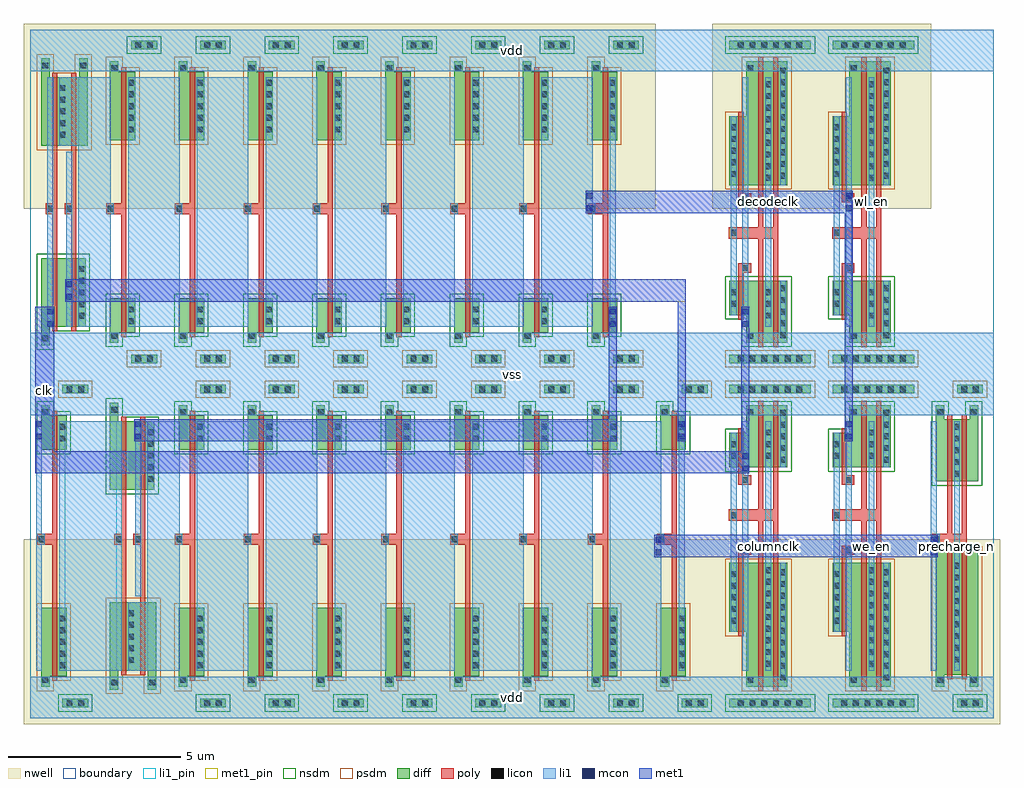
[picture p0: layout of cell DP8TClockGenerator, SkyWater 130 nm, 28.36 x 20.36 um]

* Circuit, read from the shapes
.subckt DP8TClockGenerator clk columnclk decodeclk precharge_n vdd vss we_en wl_en
XM1 DP8TNonOverlapClock_8S_0/nand2_x0_10/i0 clk vss VSUBS sky130_fd_pr__nfet_01v8 w=1 l=0.15
XM2 n1 clk vss VSUBS sky130_fd_pr__nfet_01v8 w=2 l=0.15
XM3 DP8TNonOverlapClock_8S_0/firststage[0] DP8TNonOverlapClock_8S_0/secondstage[8] n1 VSUBS sky130_fd_pr__nfet_01v8 w=2 l=0.15
XM4 n2 DP8TNonOverlapClock_8S_0/nand2_x0_10/i0 vss VSUBS sky130_fd_pr__nfet_01v8 w=2 l=0.15
XM5 DP8TNonOverlapClock_8S_0/firststage[1] DP8TNonOverlapClock_8S_0/firststage[0] vss VSUBS sky130_fd_pr__nfet_01v8 w=1 l=0.15
XM6 DP8TNonOverlapClock_8S_0/secondstage[0] DP8TNonOverlapClock_8S_0/firststage[8] n2 VSUBS sky130_fd_pr__nfet_01v8 w=2 l=0.15
XM7 DP8TNonOverlapClock_8S_0/secondstage[1] DP8TNonOverlapClock_8S_0/secondstage[0] vss VSUBS sky130_fd_pr__nfet_01v8 w=1 l=0.15
XM8 DP8TNonOverlapClock_8S_0/firststage[2] DP8TNonOverlapClock_8S_0/firststage[1] vss VSUBS sky130_fd_pr__nfet_01v8 w=1 l=0.15
XM9 DP8TNonOverlapClock_8S_0/secondstage[2] DP8TNonOverlapClock_8S_0/secondstage[1] vss VSUBS sky130_fd_pr__nfet_01v8 w=1 l=0.15
XM10 DP8TNonOverlapClock_8S_0/firststage[3] DP8TNonOverlapClock_8S_0/firststage[2] vss VSUBS sky130_fd_pr__nfet_01v8 w=1 l=0.15
XM11 DP8TNonOverlapClock_8S_0/secondstage[3] DP8TNonOverlapClock_8S_0/secondstage[2] vss VSUBS sky130_fd_pr__nfet_01v8 w=1 l=0.15
XM12 DP8TNonOverlapClock_8S_0/firststage[4] DP8TNonOverlapClock_8S_0/firststage[3] vss VSUBS sky130_fd_pr__nfet_01v8 w=1 l=0.15
XM13 DP8TNonOverlapClock_8S_0/secondstage[4] DP8TNonOverlapClock_8S_0/secondstage[3] vss VSUBS sky130_fd_pr__nfet_01v8 w=1 l=0.15
XM14 DP8TNonOverlapClock_8S_0/firststage[5] DP8TNonOverlapClock_8S_0/firststage[4] vss VSUBS sky130_fd_pr__nfet_01v8 w=1 l=0.15
XM15 DP8TNonOverlapClock_8S_0/secondstage[5] DP8TNonOverlapClock_8S_0/secondstage[4] vss VSUBS sky130_fd_pr__nfet_01v8 w=1 l=0.15
XM16 DP8TNonOverlapClock_8S_0/firststage[6] DP8TNonOverlapClock_8S_0/firststage[5] vss VSUBS sky130_fd_pr__nfet_01v8 w=1 l=0.15
XM17 DP8TNonOverlapClock_8S_0/secondstage[6] DP8TNonOverlapClock_8S_0/secondstage[5] vss VSUBS sky130_fd_pr__nfet_01v8 w=1 l=0.15
XM18 DP8TNonOverlapClock_8S_0/firststage[7] DP8TNonOverlapClock_8S_0/firststage[6] vss VSUBS sky130_fd_pr__nfet_01v8 w=1 l=0.15
XM19 inv_x2_5/i DP8TNonOverlapClock_8S_0/secondstage[6] vss VSUBS sky130_fd_pr__nfet_01v8 w=1 l=0.15
XM20 DP8TNonOverlapClock_8S_0/firststage[8] DP8TNonOverlapClock_8S_0/firststage[7] vss VSUBS sky130_fd_pr__nfet_01v8 w=1 l=0.15
XM21 DP8TNonOverlapClock_8S_0/secondstage[8] inv_x2_5/i vss VSUBS sky130_fd_pr__nfet_01v8 w=1 l=0.15
XM22 vss clk n3 VSUBS sky130_fd_pr__nfet_01v8 w=1 l=0.15
XM23 vss clk n4 VSUBS sky130_fd_pr__nfet_01v8 w=1 l=0.15
XM24 columnclk n3 vss VSUBS sky130_fd_pr__nfet_01v8 w=1.8 l=0.15 m=2
XM25 decodeclk n4 vss VSUBS sky130_fd_pr__nfet_01v8 w=1.8 l=0.15 m=2
XM26 vss DP8TNonOverlapClock_8S_0/firststage[7] n5 VSUBS sky130_fd_pr__nfet_01v8 w=1 l=0.15
XM27 vss DP8TNonOverlapClock_8S_0/firststage[7] n6 VSUBS sky130_fd_pr__nfet_01v8 w=1 l=0.15
XM28 we_en n5 vss VSUBS sky130_fd_pr__nfet_01v8 w=1.8 l=0.15 m=2
XM29 wl_en n6 vss VSUBS sky130_fd_pr__nfet_01v8 w=1.8 l=0.15 m=2
XM30 precharge_n inv_x2_5/i vss VSUBS sky130_fd_pr__nfet_01v8 w=1.8 l=0.15 m=2
XM31 DP8TNonOverlapClock_8S_0/nand2_x0_10/i0 clk vdd n7 sky130_fd_pr__pfet_01v8 w=2 l=0.15
XM32 DP8TNonOverlapClock_8S_0/firststage[0] clk vdd n8 sky130_fd_pr__pfet_01v8 w=2 l=0.15
XM33 vdd DP8TNonOverlapClock_8S_0/secondstage[8] DP8TNonOverlapClock_8S_0/firststage[0] n8 sky130_fd_pr__pfet_01v8 w=2 l=0.15
XM34 DP8TNonOverlapClock_8S_0/secondstage[0] DP8TNonOverlapClock_8S_0/nand2_x0_10/i0 vdd n7 sky130_fd_pr__pfet_01v8 w=2 l=0.15
XM35 DP8TNonOverlapClock_8S_0/firststage[1] DP8TNonOverlapClock_8S_0/firststage[0] vdd n8 sky130_fd_pr__pfet_01v8 w=2 l=0.15
XM36 vdd DP8TNonOverlapClock_8S_0/firststage[8] DP8TNonOverlapClock_8S_0/secondstage[0] n7 sky130_fd_pr__pfet_01v8 w=2 l=0.15
XM37 DP8TNonOverlapClock_8S_0/secondstage[1] DP8TNonOverlapClock_8S_0/secondstage[0] vdd n7 sky130_fd_pr__pfet_01v8 w=2 l=0.15
XM38 DP8TNonOverlapClock_8S_0/firststage[2] DP8TNonOverlapClock_8S_0/firststage[1] vdd n8 sky130_fd_pr__pfet_01v8 w=2 l=0.15
XM39 DP8TNonOverlapClock_8S_0/secondstage[2] DP8TNonOverlapClock_8S_0/secondstage[1] vdd n7 sky130_fd_pr__pfet_01v8 w=2 l=0.15
XM40 DP8TNonOverlapClock_8S_0/firststage[3] DP8TNonOverlapClock_8S_0/firststage[2] vdd n8 sky130_fd_pr__pfet_01v8 w=2 l=0.15
XM41 DP8TNonOverlapClock_8S_0/secondstage[3] DP8TNonOverlapClock_8S_0/secondstage[2] vdd n7 sky130_fd_pr__pfet_01v8 w=2 l=0.15
XM42 DP8TNonOverlapClock_8S_0/firststage[4] DP8TNonOverlapClock_8S_0/firststage[3] vdd n8 sky130_fd_pr__pfet_01v8 w=2 l=0.15
XM43 DP8TNonOverlapClock_8S_0/secondstage[4] DP8TNonOverlapClock_8S_0/secondstage[3] vdd n7 sky130_fd_pr__pfet_01v8 w=2 l=0.15
XM44 DP8TNonOverlapClock_8S_0/firststage[5] DP8TNonOverlapClock_8S_0/firststage[4] vdd n8 sky130_fd_pr__pfet_01v8 w=2 l=0.15
XM45 DP8TNonOverlapClock_8S_0/secondstage[5] DP8TNonOverlapClock_8S_0/secondstage[4] vdd n7 sky130_fd_pr__pfet_01v8 w=2 l=0.15
XM46 DP8TNonOverlapClock_8S_0/firststage[6] DP8TNonOverlapClock_8S_0/firststage[5] vdd n8 sky130_fd_pr__pfet_01v8 w=2 l=0.15
XM47 DP8TNonOverlapClock_8S_0/secondstage[6] DP8TNonOverlapClock_8S_0/secondstage[5] vdd n7 sky130_fd_pr__pfet_01v8 w=2 l=0.15
XM48 DP8TNonOverlapClock_8S_0/firststage[7] DP8TNonOverlapClock_8S_0/firststage[6] vdd n8 sky130_fd_pr__pfet_01v8 w=2 l=0.15
XM49 inv_x2_5/i DP8TNonOverlapClock_8S_0/secondstage[6] vdd n7 sky130_fd_pr__pfet_01v8 w=2 l=0.15
XM50 DP8TNonOverlapClock_8S_0/firststage[8] DP8TNonOverlapClock_8S_0/firststage[7] vdd n8 sky130_fd_pr__pfet_01v8 w=2 l=0.15
XM51 DP8TNonOverlapClock_8S_0/secondstage[8] inv_x2_5/i vdd n7 sky130_fd_pr__pfet_01v8 w=2 l=0.15
XM52 vdd clk n3 n7 sky130_fd_pr__pfet_01v8 w=2 l=0.15
XM53 vdd clk n4 n9 sky130_fd_pr__pfet_01v8 w=2 l=0.15
XM54 columnclk n3 vdd n7 sky130_fd_pr__pfet_01v8 w=3.6 l=0.15 m=2
XM55 decodeclk n4 vdd n9 sky130_fd_pr__pfet_01v8 w=3.6 l=0.15 m=2
XM56 vdd DP8TNonOverlapClock_8S_0/firststage[7] n5 n7 sky130_fd_pr__pfet_01v8 w=2 l=0.15
XM57 vdd DP8TNonOverlapClock_8S_0/firststage[7] n6 n9 sky130_fd_pr__pfet_01v8 w=2 l=0.15
XM58 we_en n5 vdd n7 sky130_fd_pr__pfet_01v8 w=3.6 l=0.15 m=2
XM59 wl_en n6 vdd n9 sky130_fd_pr__pfet_01v8 w=3.6 l=0.15 m=2
XM60 precharge_n inv_x2_5/i vdd n7 sky130_fd_pr__pfet_01v8 w=3.6 l=0.15 m=2
.ends

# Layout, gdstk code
import gdstk
lib = gdstk.Library(unit=1e-6, precision=1e-09)
def R(c, l, rs):  # rectangles x0, y0, x1, y1
    for r in rs: c.add(gdstk.rectangle(r[:2], r[2:], *l))
def A(c, l, x, y, w, h, nx, ny, dx, dy):  # array of equal rectangles
    R(c, l, [(x+i*dx, y+j*dy, x+i*dx+w, y+j*dy+h) for i in range(nx) for j in range(ny)])
def P(c, l, *ps):  # polygons
    for p in ps: c.add(gdstk.Polygon(p, *l))
nwell = (64, 20)
diff = (65, 20)
poly = (66, 20)
licon = (66, 44)
li1_pin = (67, 16)
li1 = (67, 20)
mcon = (67, 44)
met1_pin = (68, 16)
met1 = (68, 20)
nsdm = (93, 44)
psdm = (94, 20)
boundary = (235, 4)

nand2_x0 = lib.new_cell('nand2_x0')
R(nand2_x0, nwell, [(-0.18,4.8,2.18,10.18), (0.625,6.45,1.235,8.81)])
P(nand2_x0, diff, [(0.315,0.83),(0.315,3.37),(1.61,3.37),(1.61,1.37),(0.565,1.37),(0.565,0.83)],
  [(0.315,6.63),(0.315,9.17),(0.565,9.17),(0.565,8.63),(1.42,8.63),(1.42,9.17),(1.67,9.17),(1.67,6.63)])
P(nand2_x0, poly, [(0.64,1.24),(0.64,4.635),(0.445,4.635),(0.445,4.965),(0.64,4.965),(0.64,8.76),(0.79,8.76),(0.79,1.24)],
  [(1.195,1.24),(1.195,4.635),(1,4.635),(1,4.965),(1.195,4.965),(1.195,8.76),(1.345,8.76),(1.345,1.24)])
A(nand2_x0, licon, 1.4, 1.605, 0.17, 0.17, 1, 5, 0, 0.34)
A(nand2_x0, licon, 0.845, 6.865, 0.17, 0.17, 1, 5, 0, 0.34)
R(nand2_x0, licon, [(0.355,0.95,0.525,1.12), (0.495,4.715,0.665,4.885), (1.05,4.715,1.22,4.885), (0.355,8.88,0.525,9.05), (1.46,8.88,1.63,9.05)])
R(nand2_x0, li1_pin, [(0,0,2,1.2), (0.495,1.37,0.665,8.63), (1.05,1.37,1.22,6.46), (1.4,1.37,1.57,8.63), (0,8.8,2,10)])
R(nand2_x0, li1, [(0,0,2,1.2), (0.495,1.37,0.665,8.63), (1.05,1.37,1.22,6.46), (0,8.8,2,10)])
P(nand2_x0, li1, [(1.4,1.37),(1.4,6.63),(0.845,6.63),(0.845,8.63),(1.57,8.63),(1.57,1.37)])
P(nand2_x0, nsdm, [(0.19,0.705),(0.19,3.495),(1.735,3.495),(1.735,1.245),(0.69,1.245),(0.69,0.705)])
P(nand2_x0, psdm, [(0.19,6.505),(0.19,9.295),(0.69,9.295),(0.69,8.755),(1.295,8.755),(1.295,9.295),(1.795,9.295),(1.795,6.505)])
nand2_x0.add(gdstk.Label('vss', (1,0.6), layer=67, texttype=16))
nand2_x0.add(gdstk.Label('vdd', (1,9.4), layer=67, texttype=16))
nand2_x0.add(gdstk.Label('i0', (0.58,5), layer=67, texttype=16))
nand2_x0.add(gdstk.Label('nq', (1.485,5), layer=67, texttype=16))
nand2_x0.add(gdstk.Label('i1', (1.135,3.915), layer=67, texttype=16))

inv_x0 = lib.new_cell('inv_x0')
R(inv_x0, nwell, [(-0.18,4.8,2.18,10.18)])
R(inv_x0, diff, [(0.935,0.315,1.685,0.565), (0.935,9.435,1.685,9.685)])
P(inv_x0, diff, [(0.315,0.91),(0.315,2.205),(1.055,2.205),(1.055,1.205),(0.565,1.205),(0.565,0.91)],
  [(0.315,6.785),(0.315,9.09),(0.565,9.09),(0.565,8.785),(1.055,8.785),(1.055,6.785)])
P(inv_x0, poly, [(0.64,1.075),(0.64,4.635),(0.205,4.635),(0.205,4.965),(0.64,4.965),(0.64,8.915),(0.79,8.915),(0.79,1.075)])
A(inv_x0, licon, 0.845, 7.02, 0.17, 0.17, 1, 5, 0, 0.34)
R(inv_x0, licon, [(1.055,0.355,1.225,0.525), (1.395,0.355,1.565,0.525), (0.355,1.03,0.525,1.2), (0.845,1.45,1.015,1.62), (0.845,1.79,1.015,1.96), (0.255,4.715,0.425,4.885), (0.355,8.8,0.525,8.97), (1.055,9.475,1.225,9.645), (1.395,9.475,1.565,9.645)])
R(inv_x0, li1_pin, [(0,0,2,1.2), (0.17,1.37,0.34,8.63), (0.845,1.37,1.015,8.63), (0,8.8,2,10)])
R(inv_x0, li1, [(0,0,2,1.2), (0.845,1.37,1.015,8.63), (0,8.8,2,10)])
P(inv_x0, li1, [(0.17,1.37),(0.17,8.63),(0.34,8.63),(0.34,4.965),(0.425,4.965),(0.425,4.635),(0.34,4.635),(0.34,1.37)])
R(inv_x0, nsdm, [(0.81,9.31,1.81,9.81)])
P(inv_x0, nsdm, [(0.19,0.785),(0.19,2.33),(1.18,2.33),(1.18,1.08),(0.69,1.08),(0.69,0.785)])
R(inv_x0, psdm, [(0.81,0.19,1.81,0.69)])
P(inv_x0, psdm, [(0.19,6.66),(0.19,9.215),(0.69,9.215),(0.69,8.91),(1.18,8.91),(1.18,6.66)])
inv_x0.add(gdstk.Label('i', (0.255,5), layer=67, texttype=16))
inv_x0.add(gdstk.Label('vss', (1,0.6), layer=67, texttype=16))
inv_x0.add(gdstk.Label('vdd', (1,9.4), layer=67, texttype=16))
inv_x0.add(gdstk.Label('nq', (0.93,5), layer=67, texttype=16))

dp8tnonoverlapclock_8s = lib.new_cell('DP8TNonOverlapClock_8S')
A(dp8tnonoverlapclock_8s, li1_pin, 4.845, -8.63, 1.495, 7.26, 7, 1, 2, 0)
A(dp8tnonoverlapclock_8s, li1_pin, 2.845, 1.37, 1.495, 7.26, 7, 1, 2, 0)
R(dp8tnonoverlapclock_8s, li1_pin, [(0,-10,20,-8.8), (3.4,-8.63,4.34,-1.37), (0,-1.2,20,1.2), (1.4,1.37,2.34,8.63), (0,8.8,20,10)])
A(dp8tnonoverlapclock_8s, li1, 4.845, -8.63, 1.495, 7.26, 7, 1, 2, 0)
A(dp8tnonoverlapclock_8s, li1, 2.845, 1.37, 1.495, 7.26, 7, 1, 2, 0)
R(dp8tnonoverlapclock_8s, li1, [(0,-10,20,-8.8), (0.845,-8.63,2.665,-1.37), (3.4,-8.63,4.34,-1.37), (0.17,-1.9,0.34,-1.37), (3.05,-1.9,3.22,-1.37), (18.845,-1.9,19.015,-1.37), (0,-1.2,20,1.2), (0.495,1.37,0.665,1.9), (1.4,1.37,2.34,8.63), (16.845,1.37,17.015,1.9), (1.05,2.16,1.22,2.69), (0,8.8,20,10)])
R(dp8tnonoverlapclock_8s, mcon, [(0.17,-1.9,0.34,-1.73), (3.05,-1.9,3.22,-1.73), (18.845,-1.9,19.015,-1.73), (0.17,-1.54,0.34,-1.37), (3.05,-1.54,3.22,-1.37), (18.845,-1.54,19.015,-1.37), (0.495,1.37,0.665,1.54), (16.845,1.37,17.015,1.54), (0.495,1.73,0.665,1.9), (16.845,1.73,17.015,1.9), (1.05,2.16,1.22,2.33), (1.05,2.52,1.22,2.69)])
R(dp8tnonoverlapclock_8s, met1_pin, [(0.14,-1.96,0.695,1.96), (3.02,-1.96,17.045,-1.31), (1.02,2.1,19.045,2.75)])
R(dp8tnonoverlapclock_8s, met1, [(0.14,-1.96,0.695,1.96)])
P(dp8tnonoverlapclock_8s, met1, [(3.02,-1.96),(3.02,-1.31),(16.815,-1.31),(16.815,1.96),(17.045,1.96),(17.045,-1.96)],
  [(18.815,-1.96),(18.815,2.1),(1.02,2.1),(1.02,2.75),(19.045,2.75),(19.045,-1.96)])
R(dp8tnonoverlapclock_8s, boundary, [(0,-10,20,10)])
dp8tnonoverlapclock_8s.add(gdstk.Reference(nand2_x0, (0,0)))
dp8tnonoverlapclock_8s.add(gdstk.Reference(inv_x0, (2,0)))
dp8tnonoverlapclock_8s.add(gdstk.Reference(inv_x0, (4,0)))
dp8tnonoverlapclock_8s.add(gdstk.Reference(inv_x0, (6,0)))
dp8tnonoverlapclock_8s.add(gdstk.Reference(inv_x0, (8,0)))
dp8tnonoverlapclock_8s.add(gdstk.Reference(inv_x0, (10,0)))
dp8tnonoverlapclock_8s.add(gdstk.Reference(inv_x0, (12,0)))
dp8tnonoverlapclock_8s.add(gdstk.Reference(inv_x0, (14,0)))
dp8tnonoverlapclock_8s.add(gdstk.Reference(inv_x0, (16,0)))
dp8tnonoverlapclock_8s.add(gdstk.Reference(inv_x0, (0,0), x_reflection=True))
dp8tnonoverlapclock_8s.add(gdstk.Reference(nand2_x0, (2,0), x_reflection=True))
dp8tnonoverlapclock_8s.add(gdstk.Reference(inv_x0, (4,0), x_reflection=True))
dp8tnonoverlapclock_8s.add(gdstk.Reference(inv_x0, (6,0), x_reflection=True))
dp8tnonoverlapclock_8s.add(gdstk.Reference(inv_x0, (8,0), x_reflection=True))
dp8tnonoverlapclock_8s.add(gdstk.Reference(inv_x0, (10,0), x_reflection=True))
dp8tnonoverlapclock_8s.add(gdstk.Reference(inv_x0, (12,0), x_reflection=True))
dp8tnonoverlapclock_8s.add(gdstk.Reference(inv_x0, (14,0), x_reflection=True))
dp8tnonoverlapclock_8s.add(gdstk.Reference(inv_x0, (16,0), x_reflection=True))
dp8tnonoverlapclock_8s.add(gdstk.Reference(inv_x0, (18,0), x_reflection=True))
dp8tnonoverlapclock_8s.add(gdstk.Label('clk', (0.417,0), layer=68, texttype=16))
dp8tnonoverlapclock_8s.add(gdstk.Label('firststage[8]', (10.032,-1.635), layer=68, texttype=16))
dp8tnonoverlapclock_8s.add(gdstk.Label('secondstage[8]', (10.032,2.425), layer=68, texttype=16))
dp8tnonoverlapclock_8s.add(gdstk.Label('vss', (10,0), layer=67, texttype=16))
dp8tnonoverlapclock_8s.add(gdstk.Label('vdd', (10,-9.4), layer=67, texttype=16))
dp8tnonoverlapclock_8s.add(gdstk.Label('vdd', (10,9.4), layer=67, texttype=16))
dp8tnonoverlapclock_8s.add(gdstk.Label('firststage[0]', (1.87,5), layer=67, texttype=16))
dp8tnonoverlapclock_8s.add(gdstk.Label('firststage[1]', (3.593,5), layer=67, texttype=16))
dp8tnonoverlapclock_8s.add(gdstk.Label('firststage[2]', (5.592,5), layer=67, texttype=16))
dp8tnonoverlapclock_8s.add(gdstk.Label('firststage[3]', (7.592,5), layer=67, texttype=16))
dp8tnonoverlapclock_8s.add(gdstk.Label('firststage[4]', (9.593,5), layer=67, texttype=16))
dp8tnonoverlapclock_8s.add(gdstk.Label('firststage[5]', (11.593,5), layer=67, texttype=16))
dp8tnonoverlapclock_8s.add(gdstk.Label('firststage[6]', (13.593,5), layer=67, texttype=16))
dp8tnonoverlapclock_8s.add(gdstk.Label('firststage[7]', (15.593,5), layer=67, texttype=16))
dp8tnonoverlapclock_8s.add(gdstk.Label('secondstage[0]', (3.87,-5), layer=67, texttype=16))
dp8tnonoverlapclock_8s.add(gdstk.Label('secondstage[1]', (5.592,-5), layer=67, texttype=16))
dp8tnonoverlapclock_8s.add(gdstk.Label('secondstage[2]', (7.592,-5), layer=67, texttype=16))
dp8tnonoverlapclock_8s.add(gdstk.Label('secondstage[3]', (9.593,-5), layer=67, texttype=16))
dp8tnonoverlapclock_8s.add(gdstk.Label('secondstage[4]', (11.593,-5), layer=67, texttype=16))
dp8tnonoverlapclock_8s.add(gdstk.Label('secondstage[5]', (13.593,-5), layer=67, texttype=16))
dp8tnonoverlapclock_8s.add(gdstk.Label('secondstage[6]', (15.593,-5), layer=67, texttype=16))
dp8tnonoverlapclock_8s.add(gdstk.Label('secondstage[7]', (17.593,-5), layer=67, texttype=16))

buf_x2 = lib.new_cell('buf_x2')
R(buf_x2, nwell, [(-0.18,4.8,3.18,10.18), (0.625,8.5,1.235,9.27)])
R(buf_x2, diff, [(0.315,0.315,2.685,0.565), (0.315,9.435,2.685,9.685)])
P(buf_x2, diff, [(0.805,0.91),(0.805,1.71),(0.315,1.71),(0.315,2.71),(2,2.71),(2,0.91)],
  [(0.315,5.49),(0.315,7.49),(0.805,7.49),(0.805,9.09),(2,9.09),(2,5.49)])
P(buf_x2, poly, [(1.155,0.78),(1.155,3.935),(0.305,3.935),(0.305,4.265),(1.155,4.265),(1.155,9.22),(1.305,9.22),(1.305,4.265),(1.585,4.265),(1.585,9.22),(1.735,9.22),(1.735,0.78),(1.585,0.78),(1.585,3.935),(1.305,3.935),(1.305,0.78)],
  [(0.58,4.985),(0.58,7.62),(0.73,7.62),(0.73,5.255),(0.945,5.255),(0.945,4.985)],
  [(0.58,1.58),(0.58,3.215),(0.945,3.215),(0.945,2.945),(0.73,2.945),(0.73,1.58)])
A(buf_x2, licon, 0.565, 0.355, 0.17, 0.17, 6, 2, 0.34, 9.12)
A(buf_x2, licon, 1.79, 1.045, 0.17, 0.17, 1, 5, 0, 0.34)
A(buf_x2, licon, 1.36, 1.615, 0.17, 0.17, 1, 3, 0, 0.34)
A(buf_x2, licon, 1.36, 5.615, 0.17, 0.17, 1, 9, 0, 0.34)
A(buf_x2, licon, 1.79, 5.675, 0.17, 0.17, 1, 10, 0, 0.34)
A(buf_x2, licon, 0.355, 5.725, 0.17, 0.17, 1, 5, 0, 0.34)
R(buf_x2, licon, [(0.845,1.03,1.015,1.2), (0.355,1.955,0.525,2.125), (0.355,2.295,0.525,2.465), (0.695,2.995,0.865,3.165), (0.355,4.015,0.525,4.185), (0.695,5.035,0.865,5.205), (0.845,8.8,1.015,8.97)])
R(buf_x2, li1_pin, [(0,0,3,1.2), (0.695,1.37,0.865,8.63), (1.36,1.37,1.53,8.63), (0,8.8,3,10)])
R(buf_x2, li1, [(0.695,1.37,0.865,8.63), (1.36,1.37,1.53,8.63), (0.355,1.71,0.525,7.49)])
P(buf_x2, li1, [(1.79,5.49),(1.79,8.8),(0,8.8),(0,10),(3,10),(3,8.8),(1.96,8.8),(1.96,5.49)],
  [(0,0),(0,1.2),(1.79,1.2),(1.79,2.71),(1.96,2.71),(1.96,1.2),(3,1.2),(3,0)])
R(buf_x2, nsdm, [(0.19,9.31,2.81,9.81)])
P(buf_x2, nsdm, [(0.68,0.785),(0.68,1.585),(0.19,1.585),(0.19,2.835),(2.125,2.835),(2.125,0.785)])
R(buf_x2, psdm, [(0.19,0.19,2.81,0.69)])
P(buf_x2, psdm, [(0.19,5.365),(0.19,7.615),(0.68,7.615),(0.68,9.215),(2.125,9.215),(2.125,5.365)])
buf_x2.add(gdstk.Label('vdd', (1.5,9.4), layer=67, texttype=16))
buf_x2.add(gdstk.Label('vss', (1.5,0.6), layer=67, texttype=16))
buf_x2.add(gdstk.Label('i', (0.78,5), layer=67, texttype=16))
buf_x2.add(gdstk.Label('q', (1.445,5), layer=67, texttype=16))

inv_x2 = lib.new_cell('inv_x2')
R(inv_x2, nwell, [(-0.18,4.8,2.18,10.18)])
R(inv_x2, diff, [(0.935,0.315,1.685,0.565), (0.935,9.435,1.685,9.685)])
P(inv_x2, diff, [(0.315,0.91),(0.315,3.115),(1.545,3.115),(1.545,0.91),(1.295,0.91),(1.295,1.315),(0.565,1.315),(0.565,0.91)],
  [(0.315,5.135),(0.315,9.09),(0.565,9.09),(0.565,8.735),(1.295,8.735),(1.295,9.09),(1.545,9.09),(1.545,5.135)])
P(inv_x2, poly, [(0.64,1.185),(0.64,4.635),(0.205,4.635),(0.205,4.965),(0.64,4.965),(0.64,8.865),(0.79,8.865),(0.79,4.965),(1.07,4.965),(1.07,8.865),(1.22,8.865),(1.22,1.185),(1.07,1.185),(1.07,4.635),(0.79,4.635),(0.79,1.185)])
A(inv_x2, licon, 0.845, 1.45, 0.17, 0.17, 1, 5, 0, 0.34)
A(inv_x2, licon, 0.845, 5.49, 0.17, 0.17, 1, 9, 0, 0.34)
R(inv_x2, licon, [(1.055,0.355,1.225,0.525), (1.395,0.355,1.565,0.525), (0.355,1.03,0.525,1.2), (1.335,1.03,1.505,1.2), (0.255,4.715,0.425,4.885), (0.355,8.8,0.525,8.97), (1.335,8.8,1.505,8.97), (1.055,9.475,1.225,9.645), (1.395,9.475,1.565,9.645)])
R(inv_x2, li1_pin, [(0,0,2,1.2), (0.17,1.37,0.34,8.63), (0.845,1.37,1.015,8.63), (0,8.8,2,10)])
R(inv_x2, li1, [(0,0,2,1.2), (0.845,1.37,1.015,8.63), (0,8.8,2,10)])
P(inv_x2, li1, [(0.17,1.37),(0.17,8.63),(0.34,8.63),(0.34,4.965),(0.425,4.965),(0.425,4.635),(0.34,4.635),(0.34,1.37)])
R(inv_x2, nsdm, [(0.81,9.31,1.81,9.81)])
P(inv_x2, nsdm, [(0.19,0.785),(0.19,3.24),(1.67,3.24),(1.67,0.785),(1.17,0.785),(1.17,1.19),(0.69,1.19),(0.69,0.785)])
R(inv_x2, psdm, [(0.81,0.19,1.81,0.69)])
P(inv_x2, psdm, [(0.19,5.01),(0.19,9.215),(0.69,9.215),(0.69,8.86),(1.17,8.86),(1.17,9.215),(1.67,9.215),(1.67,5.01)])
inv_x2.add(gdstk.Label('i', (0.255,5), layer=67, texttype=16))
inv_x2.add(gdstk.Label('vss', (1,0.6), layer=67, texttype=16))
inv_x2.add(gdstk.Label('vdd', (1,9.4), layer=67, texttype=16))
inv_x2.add(gdstk.Label('nq', (0.93,5), layer=67, texttype=16))

dp8tclockgenerator = lib.new_cell('DP8TClockGenerator')
R(dp8tclockgenerator, li1_pin, [(0,-10,28,-8.8), (21.36,-8.63,21.53,-1.37), (24.36,-8.63,24.53,-1.37), (26.845,-8.63,27.015,-1.37), (0,-1.2,28,1.2), (21.36,1.37,21.53,8.63), (24.36,1.37,24.53,8.63), (0,8.8,28,10)])
R(dp8tclockgenerator, li1, [(0,-10,28,-8.8), (21.36,-8.63,21.53,-1.37), (24.36,-8.63,24.53,-1.37), (26.845,-8.63,27.015,-1.37), (18.17,-5.265,18.34,-4.735), (26.17,-5.265,26.34,-4.735), (20.695,-2.83,20.865,-2.3), (23.695,-1.9,23.865,-1.37), (0,-1.2,28,1.2), (20.695,1.37,20.865,1.9), (21.36,1.37,21.53,8.63), (24.36,1.37,24.53,8.63), (16.17,4.735,16.34,5.265), (23.695,4.735,23.865,5.265), (0,8.8,28,10)])
R(dp8tclockgenerator, mcon, [(18.17,-5.265,18.34,-5.095), (26.17,-5.265,26.34,-5.095), (18.17,-4.905,18.34,-4.735), (26.17,-4.905,26.34,-4.735), (20.695,-2.83,20.865,-2.66), (20.695,-2.47,20.865,-2.3), (23.695,-1.9,23.865,-1.73), (23.695,-1.54,23.865,-1.37), (20.695,1.37,20.865,1.54), (20.695,1.73,20.865,1.9), (16.17,4.735,16.34,4.905), (23.695,4.735,23.865,4.905), (16.17,5.095,16.34,5.265), (23.695,5.095,23.865,5.265)])
R(dp8tclockgenerator, met1_pin, [(0.14,-2.89,0.695,1.96)])
R(dp8tclockgenerator, met1, [(18.14,-5.325,26.37,-4.675)])
P(dp8tclockgenerator, met1, [(0.14,-2.89),(0.14,1.96),(0.695,1.96),(0.695,-2.24),(20.665,-2.24),(20.665,1.96),(20.895,1.96),(20.895,-2.89)],
  [(23.665,-1.96),(23.665,4.675),(16.14,4.675),(16.14,5.325),(23.895,5.325),(23.895,-1.96)])
R(dp8tclockgenerator, boundary, [(0,-10,28,10)])
dp8tclockgenerator.add(gdstk.Reference(dp8tnonoverlapclock_8s, (0,0)))
dp8tclockgenerator.add(gdstk.Reference(buf_x2, (20,0)))
dp8tclockgenerator.add(gdstk.Reference(buf_x2, (20,0), x_reflection=True))
dp8tclockgenerator.add(gdstk.Reference(buf_x2, (23,0)))
dp8tclockgenerator.add(gdstk.Reference(buf_x2, (23,0), x_reflection=True))
dp8tclockgenerator.add(gdstk.Reference(inv_x2, (26,0), x_reflection=True))
dp8tclockgenerator.add(gdstk.Label('clk', (0.417,-0.465), layer=68, texttype=16))
dp8tclockgenerator.add(gdstk.Label('vss', (14,0), layer=67, texttype=16))
dp8tclockgenerator.add(gdstk.Label('vdd', (14,-9.4), layer=67, texttype=16))
dp8tclockgenerator.add(gdstk.Label('vdd', (14,9.4), layer=67, texttype=16))
dp8tclockgenerator.add(gdstk.Label('decodeclk', (21.445,5), layer=67, texttype=16))
dp8tclockgenerator.add(gdstk.Label('columnclk', (21.445,-5), layer=67, texttype=16))
dp8tclockgenerator.add(gdstk.Label('wl_en', (24.445,5), layer=67, texttype=16))
dp8tclockgenerator.add(gdstk.Label('we_en', (24.445,-5), layer=67, texttype=16))
dp8tclockgenerator.add(gdstk.Label('precharge_n', (26.93,-5), layer=67, texttype=16))

lib.write_gds('DP8TClockGenerator.gds')
